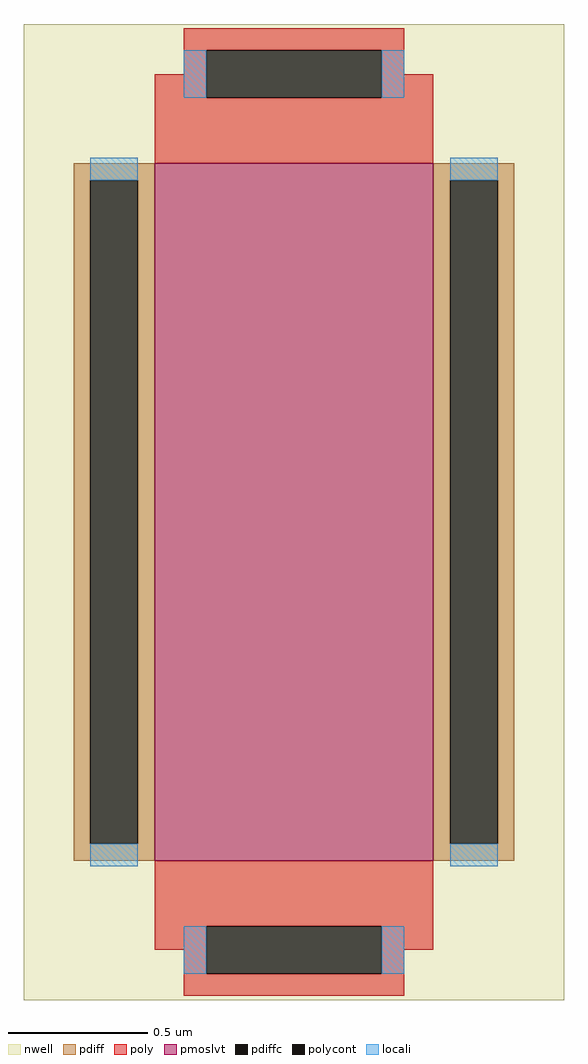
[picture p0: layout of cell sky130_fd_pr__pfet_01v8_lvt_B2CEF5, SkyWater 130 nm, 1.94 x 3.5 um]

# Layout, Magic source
magic
tech sky130A
magscale 1 2
<< nwell >>
rect -194 -350 194 350
<< pmoslvt >>
rect -100 -250 100 250
<< pdiff >>
rect -158 238 -100 250
rect -158 -238 -146 238
rect -112 -238 -100 238
rect -158 -250 -100 -238
rect 100 238 158 250
rect 100 -238 112 238
rect 146 -238 158 238
rect 100 -250 158 -238
<< pdiffc >>
rect -146 -238 -112 238
rect 112 -238 146 238
<< poly >>
rect -79 331 79 347
rect -79 314 -63 331
rect -100 297 -63 314
rect 63 314 79 331
rect 63 297 100 314
rect -100 250 100 297
rect -100 -297 100 -250
rect -100 -314 -63 -297
rect -79 -331 -63 -314
rect 63 -314 100 -297
rect 63 -331 79 -314
rect -79 -347 79 -331
<< polycont >>
rect -63 297 63 331
rect -63 -331 63 -297
<< locali >>
rect -79 297 -63 331
rect 63 297 79 331
rect -146 238 -112 254
rect -146 -254 -112 -238
rect 112 238 146 254
rect 112 -254 146 -238
rect -79 -331 -63 -297
rect 63 -331 79 -297
<< properties >>
string gencell sky130_fd_pr__pfet_01v8_lvt
string library sky130
string parameters w 2.5 l 1.0 m 1 nf 1 diffcov 100 polycov 75 guard 0 glc 1 grc 1 gtc 1 gbc 1 tbcov 100 rlcov 100 topc 1 botc 1 poverlap 1 doverlap 1 lmin 0.35 wmin 0.42 class mosfet compatible {sky130_fd_pr__pfet_01v8  sky130_fd_pr__pfet_01v8_lvt sky130_fd_pr__pfet_01v8_hvt  sky130_fd_pr__pfet_g5v0d10v5} full_metal 1 viasrc 0 viadrn 0 viagate 0 viagb 0 viagr 0 viagl 0 viagt 0
<< end >>
